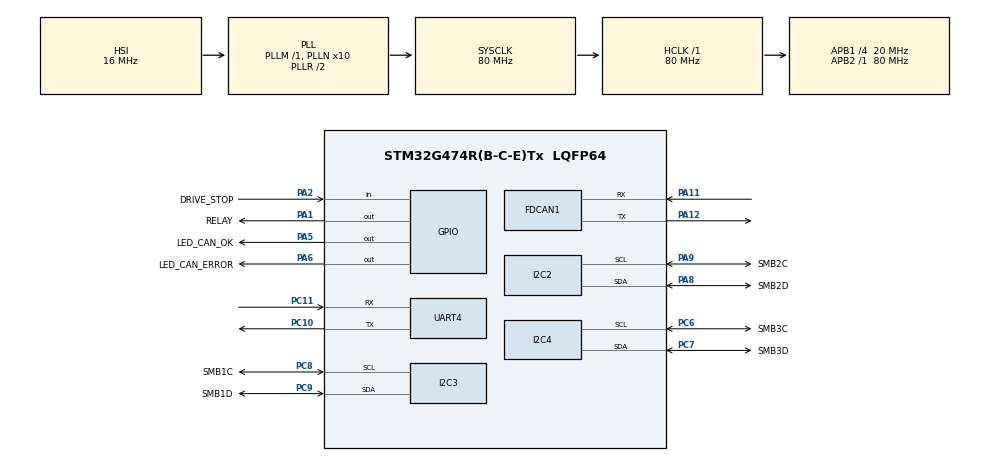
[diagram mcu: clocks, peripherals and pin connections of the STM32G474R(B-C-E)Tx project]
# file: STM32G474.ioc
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FDCAN1.AutoRetransmission=ENABLE
FDCAN1.CalculateBaudRateNominal=500000
FDCAN1.CalculateTimeBitNominal=2000
FDCAN1.CalculateTimeQuantumNominal=200.0
FDCAN1.DataTimeSeg1=5
FDCAN1.DataTimeSeg2=4
FDCAN1.NominalPrescaler=4
FDCAN1.NominalSyncJumpWidth=12
FDCAN1.NominalTimeSeg1=8
FDCAN1.NominalTimeSeg2=1
FDCAN1.TransmitPause=ENABLE
I2C2.Timing=0x00604E6E
I2C3.Timing=0x00604E6E
I2C4.Timing=0x00604E6E
Mcu.Family=STM32G4
Mcu.Name=STM32G474R(B-C-E)Tx
Mcu.Package=LQFP64
NVIC.FDCAN1_IT0_IRQn=true\:0\:0\:false\:false\:true\:true\:true\:true
NVIC.PriorityGroup=NVIC_PRIORITYGROUP_4
NVIC.TIM6_DAC_IRQn=true\:15\:0\:false\:false\:true\:false\:true\:true
NVIC.TimeBase=TIM6_DAC_IRQn
NVIC.TimeBaseIP=TIM6
PA1.GPIO_Label=RELAY
PA1.Signal=GPIO_Output
PA11.Mode=FDCAN_Activate
PA11.Signal=FDCAN1_RX
PA12.Mode=FDCAN_Activate
PA12.Signal=FDCAN1_TX
PA13.Mode=JTAG_5_pins
PA13.Signal=SYS_JTMS-SWDIO
PA14.Mode=JTAG_5_pins
PA14.Signal=SYS_JTCK-SWCLK
PA15.Mode=JTAG_5_pins
PA15.Signal=SYS_JTDI
PA2.GPIO_Label=DRIVE_STOP
PA2.GPIO_PuPd=GPIO_PULLUP
PA2.Signal=GPIO_Input
PA5.GPIO_Label=LED_CAN_OK
PA5.Signal=GPIO_Output
PA6.GPIO_Label=LED_CAN_ERROR
PA6.Signal=GPIO_Output
PA8.GPIO_Label=SMB2D
PA8.Mode=I2C
PA8.Signal=I2C2_SDA
PA9.GPIO_Label=SMB2C
PA9.Mode=I2C
PA9.Signal=I2C2_SCL
PB3.Mode=JTAG_5_pins
PB3.Signal=SYS_JTDO-SWO
PB4.Mode=JTAG_5_pins
PB4.Signal=SYS_JTRST
PC10.Mode=Asynchronous
PC10.Signal=UART4_TX
PC11.Mode=Asynchronous
PC11.Signal=UART4_RX
PC6.GPIO_Label=SMB3C
PC6.Mode=I2C
PC6.Signal=I2C4_SCL
PC7.GPIO_Label=SMB3D
PC7.Mode=I2C
PC7.Signal=I2C4_SDA
PC8.GPIO_Label=SMB1C
PC8.Mode=I2C
PC8.Signal=I2C3_SCL
PC9.GPIO_Label=SMB1D
PC9.Mode=I2C
PC9.Signal=I2C3_SDA
PF0-OSC_IN.Mode=HSE-External-Oscillator
PF0-OSC_IN.Signal=RCC_OSC_IN
PF1-OSC_OUT.Mode=HSE-External-Oscillator
PF1-OSC_OUT.Signal=RCC_OSC_OUT
ProjectManager.HeapSize=0x200
ProjectManager.StackSize=0x400
ProjectManager.TargetToolchain=STM32CubeIDE
RCC.ADC12Freq_Value=80000000
RCC.ADC345Freq_Value=80000000
RCC.AHBFreq_Value=80000000
RCC.APB1CLKDivider=RCC_HCLK_DIV4
RCC.APB1Freq_Value=20000000
RCC.APB1TimFreq_Value=40000000
RCC.APB2Freq_Value=80000000
RCC.APB2TimFreq_Value=80000000
RCC.CortexFreq_Value=80000000
RCC.EXTERNAL_CLOCK_VALUE=12288000
RCC.HCLKFreq_Value=80000000
RCC.HSE_VALUE=24000000
RCC.HSI48_VALUE=48000000
RCC.HSI_VALUE=16000000
RCC.LSE_VALUE=32768
RCC.PLLN=10
RCC.SYSCLKFreq_VALUE=80000000
RCC.SYSCLKSource=RCC_SYSCLKSOURCE_PLLCLK
RCC.USBFreq_Value=80000000
RCC.VCOOutputFreq_Value=160000000
VP_SYS_VS_DBSignals.Mode=DisableDeadBatterySignals
VP_SYS_VS_tim6.Mode=TIM6
board=custom

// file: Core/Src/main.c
/* USER CODE BEGIN Header */
/**
 ******************************************************************************
 * @file           : main.c
 * @brief          : Main program body
 ******************************************************************************
 * @attention
 *
 * Copyright (c) 2025 STMicroelectronics.
 * All rights reserved.
 *
 * This software is licensed under terms that can be found in the LICENSE file
 * in the root directory of this software component.
 * If no LICENSE file comes with this software, it is provided AS-IS.
 *
 ******************************************************************************
 */
/* USER CODE END Header */
#include "main.h"
#include "fdcan.h"
#include "i2c.h"
#include "usart.h"
#include "gpio.h"

/* USER CODE BEGIN Includes */
#include "FreeRTOS.h"
#include "task.h"
#include "freertos_tasks.h"
#include "vescan_task.h"
#include "battery_monitor_task.h"
#include "hal_types.h"  // For unified DEBUG_LOG macro
#include <stdio.h>
#include <string.h>
#include "vesc2halcan.h"

// Unit test integration - declare as weak symbols so they can be overridden
extern "C" __attribute__((weak)) void startUnitTests(void) {
	// Weak implementation - does nothing if tests not linked
	DEBUG_LOG("Unit tests not linked - skipping");
}

extern "C" __attribute__((weak)) void runTestsTask(void* pvParameters) {
	(void)pvParameters;
	// Weak implementation - just delete task if tests not linked
	DEBUG_LOG("Test task not implemented - deleting task");
	vTaskDelete(NULL);// Use NULL instead of nullptr for C compatibility
}
/* USER CODE END Includes */

/* USER CODE BEGIN PD */
// NOTE: Logging method selection and macro definitions are above, before function definitions
/* USER CODE END PD */

void SystemClock_Config(void);

/* USER CODE BEGIN 0 */
TaskHandle_t batteryTaskHandle[3] = { NULL };
TaskHandle_t vescanTaskHandle = NULL;

/**
 * @brief  Configures the FDCAN.
 * @param  None
 * @retval None
 */
static void FDCAN_Config(void) {

	FDCAN_FilterTypeDef sFilterConfig;

	/* Configure Rx filter */
	sFilterConfig.IdType = FDCAN_EXTENDED_ID;
	sFilterConfig.FilterIndex = 0;
	sFilterConfig.FilterType = FDCAN_FILTER_DISABLE; // FDCAN_FILTER_MASK
	sFilterConfig.FilterConfig = FDCAN_FILTER_TO_RXFIFO0;

//	sFilterConfig.FilterID1 =
//	sFilterConfig.FilterID2 = 0x1FFF00FF;

	if (HAL_FDCAN_ConfigFilter(&hfdcan1, &sFilterConfig) != HAL_OK) {
		Error_Handler();
	}

	/* Configure global filter:
	 Filter all remote frames with STD and EXT ID
	 Reject non matching frames with STD ID and EXT ID */
//	if (HAL_FDCAN_ConfigGlobalFilter(&hfdcan1, FDCAN_REJECT, FDCAN_REJECT, FDCAN_FILTER_REMOTE, FDCAN_FILTER_REMOTE) != HAL_OK) {
//		Error_Handler();
//	}

	/* Start the FDCAN module */
	if (HAL_FDCAN_Start(&hfdcan1) != HAL_OK) {
		Error_Handler();
	}

	if (HAL_FDCAN_ActivateNotification(&hfdcan1, FDCAN_IT_RX_FIFO0_NEW_MESSAGE, 0) != HAL_OK) {
		Error_Handler();
	}

}

/**
 * @brief  Rx FIFO 0 callback.
 * @param  hfdcan: pointer to an FDCAN_HandleTypeDef structure that contains
 *         the configuration information for the specified FDCAN.
 * @param  RxFifo0ITs: indicates which Rx FIFO 0 interrupts are signalled.
 *         This parameter can be any combination of @arg FDCAN_Rx_Fifo0_Interrupts.
 * @retval None
 */
void HAL_FDCAN_RxFifo0Callback(FDCAN_HandleTypeDef *hfdcan, uint32_t RxFifo0ITs) {
	if ((RxFifo0ITs & FDCAN_IT_RX_FIFO0_NEW_MESSAGE) != 0) {
		FDCAN_RxHeaderTypeDef RxHeader;
		uint8_t RxData[8];

		/* Retrieve Rx messages from RX FIFO0 */
		if (HAL_FDCAN_GetRxMessage(hfdcan, FDCAN_RX_FIFO0, &RxHeader, RxData)
				!= HAL_OK) {
			return;
		}

		if (RxHeader.Identifier == BATTERY0_ID
				|| RxHeader.Identifier == BATTERY1_ID
				|| RxHeader.Identifier == BATTERY2_ID) {

			VESC_RawFrame rawFrame;
			halcan2vesc(&rawFrame, &RxHeader, RxData);

			if (rawFrame.command == VESC_COMMAND_SET_DUTY) {
				VESC_CommandFrame commandFrame;
				VESC_ZeroMemory(&commandFrame, sizeof(commandFrame));
				VESC_convertRawToCmd(&commandFrame, &rawFrame);

//				printf("Received VESC SET DUTY: %.2f \n\r",
//						commandFrame.commandData);
				if(commandFrame.commandData < 1.0f){
					HAL_GPIO_WritePin(RELAY_GPIO_Port, RELAY_Pin, GPIO_PIN_RESET);
				}else{
					HAL_GPIO_WritePin(RELAY_GPIO_Port, RELAY_Pin, GPIO_PIN_SET);
				}

			}
		}

	}
}

/* USER CODE END 0 */

int main(void)
{

  /* MCU Configuration--------------------------------------------------------*/

  /* Reset of all peripherals, Initializes the Flash interface and the Systick. */
  HAL_Init();

  /* Configure the system clock */
  SystemClock_Config();

  /* Initialize all configured peripherals */
  MX_GPIO_Init();
  MX_FDCAN1_Init();
  MX_I2C2_Init();
  MX_I2C3_Init();
  MX_I2C4_Init();
  MX_UART4_Init();
  /* USER CODE BEGIN 2 */

	HAL_GPIO_WritePin(LED_CAN_ERROR_GPIO_Port, LED_CAN_ERROR_Pin, GPIO_PIN_RESET);
	HAL_GPIO_WritePin(LED_CAN_OK_GPIO_Port, LED_CAN_OK_Pin, GPIO_PIN_RESET);
	HAL_Delay(1000);

	HAL_GPIO_WritePin(LED_CAN_ERROR_GPIO_Port, LED_CAN_ERROR_Pin, GPIO_PIN_SET);
	HAL_GPIO_WritePin(LED_CAN_OK_GPIO_Port, LED_CAN_OK_Pin, GPIO_PIN_SET);
	HAL_Delay(1000);

	// Test UART4 hardware directly first
	const char *test_msg = "UART4 HAL Test OK\n\r";
	HAL_UART_Transmit(&huart4, (uint8_t*) test_msg, strlen(test_msg), 1000);

	// Test UART4 console via printf/syscalls
	printf("=== UART4 Console Test ===\n\r");
	printf("Direct printf test successful!\n\r");

	// Display startup banner via UART console
	printf("mmmmm mmmmm mmmmm mmmmm mmmmm mmmmm \n\r");
	printf("MM                               MM \n\r");
	printf("MM     `7MM\"\"\"YMM   .M\"\"\"bgd     MM\tExisting solutions v 01.08.25\n\r");
	printf("MM       MM    `7  ,MI    \"Y     MM \n\r");
	printf("MM       MM   d    `MMb.         MM \n\r");
	printf("MM       MMmmMM      `YMMNq.     MM \n\r");
	printf("MM       MM   Y  , .     `MM     MM \n\r");
	printf("MM       MM     ,M Mb     dM     MM \n\r");
	printf("MM     .JMMmmmmMMM P\"Ybmmd\"      MM \n\r");
	printf("MM                               MM \n\r");
	printf("mmmmm mmmmm mmmmm mmmmm mmmmm mmmmm \n\r");

	DEBUG_LOG("\n=== STM32G474 Custom Board Startup ===");
	DEBUG_LOG("Platform: Custom-G474");
	DEBUG_LOG("MCU: STM32G474RE Cortex-M4F");
	DEBUG_LOG("FreeRTOS: Enabled");

	DEBUG_LOG("\n--- Creating Application Tasks ---");

    // FDCAN is already initialized by MX_FDCAN1_Init() in main

	FDCAN_Config(); // TODO PROBABLY SHOULD BE CALLED AFTER INITIALIZING TASKS

	/* Initialize VESCAN queues (temporarily disabled for debugging) */
//	 vescanInitQueues();
//	DEBUG_LOG("VESCAN queues initialization skipped (debugging)");

	/* Configure battery monitor task for STM32G474 platform */
//@formatter:off
	static BatteryTaskConfig battery_config[3] = {
		{
					&hi2c3,                    // Use I2C3 peripheral on this platform
					BATTERY_DEFAULT_ADDRESS,   // Standard BQ40Z80 address (0x0B)
					3000,                      // Read battery every 3 seconds
					"BatteryG474 0",              // Platform-specific task name
					BATTERY0_ID						// CAN ID
		},
		{
					&hi2c2,                    // Use I2C3 peripheral on this platform
					BATTERY_DEFAULT_ADDRESS,   // Standard BQ40Z80 address (0x0B)
					3000,                      // Read battery every 3 seconds
					"BatteryG474 1",              // Platform-specific task name
					BATTERY1_ID 						// CAN ID
		},
		{
					&hi2c4,                    // Use I2C3 peripheral on this platform
					BATTERY_DEFAULT_ADDRESS,   // Standard BQ40Z80 address (0x0B)
					3000,                      // Read battery every 3 seconds
					"BatteryG474 2",              // Platform-specific task name
					BATTERY2_ID 						// CAN ID
		},
	};

//@formatter:on

	BaseType_t xReturned;
	/* Create VESCAN task  */
//	xReturned = xTaskCreate(vescanTask,                   // Task function
//			"VESCAN",                     // Task name
//			512,                          // Stack size
//			NULL,                         // Parameters
//			tskIDLE_PRIORITY + 2,         // Priority
//			&vescanTaskHandle             // Task handle
//			);
//
//	if (xReturned != pdPASS) {
//		DEBUG_LOG("ERROR: Failed to create VESCAN task");
//		Error_Handler();
//	}
//	DEBUG_LOG("VESCAN task created successfully (FDCAN1)");

	/* Create battery monitor task for BQ40Z80 management */

	xReturned = xTaskCreate(batteryMonitorTask,           // Task function - battery monitoring with reports
			"Battery0",                    // Task name
			BATTERY_MONITOR_TASK_STACK_SIZE, // Stack size from configuration
			&battery_config[0],              // Pass configuration as parameters
			BATTERY_MONITOR_TASK_PRIORITY,              // Task priority from configuration
			&batteryTaskHandle[0]            // Task handle
			);

	if (xReturned != pdPASS) {
		DEBUG_LOG("ERROR: Failed to create battery monitor task");
		Error_Handler();
	}
	DEBUG_LOG("Battery monitor task created successfully (I2C3, 3sec reports)");

	xReturned = xTaskCreate(batteryMonitorTask,           // Task function - battery monitoring with reports
			"Battery1",                    // Task name
			BATTERY_MONITOR_TASK_STACK_SIZE, // Stack size from configuration
			&battery_config[1],              // Pass configuration as parameters
			BATTERY_MONITOR_TASK_PRIORITY,              // Task priority from configuration
			&batteryTaskHandle[1]            // Task handle
			);

	if (xReturned != pdPASS) {
		DEBUG_LOG("ERROR: Failed to create battery monitor task");
		Error_Handler();
	}
	DEBUG_LOG("Battery monitor task created successfully (I2C3, 3sec reports)");

	xReturned = xTaskCreate(batteryMonitorTask,           // Task function - battery monitoring with reports
			"Battery2",                    // Task name
			BATTERY_MONITOR_TASK_STACK_SIZE, // Stack size from configuration
			&battery_config[2],              // Pass configuration as parameters
			BATTERY_MONITOR_TASK_PRIORITY,              // Task priority from configuration
			&batteryTaskHandle[2]            // Task handle
			);

	if (xReturned != pdPASS) {
		DEBUG_LOG("ERROR: Failed to create battery monitor task");
		Error_Handler();
	}
	DEBUG_LOG("Battery monitor task created successfully (I2C3, 3sec reports)");

	/* UART task is currently disabled */
	//TaskHandle_t uartTaskHandle = NULL;
	//xReturned = xTaskCreate(uartTask, "UART", 1024, NULL, tskIDLE_PRIORITY + 1, &uartTaskHandle);
	DEBUG_LOG("\n--- Starting FreeRTOS Scheduler ---");
	DEBUG_LOG("Application ready\n");

	/* Start FreeRTOS scheduler */
	vTaskStartScheduler();
  /* USER CODE END 2 */

  /* Infinite loop */
	while (1) {

	}
}

void SystemClock_Config(void)
{
  RCC_OscInitTypeDef RCC_OscInitStruct = {0};
  RCC_ClkInitTypeDef RCC_ClkInitStruct = {0};

  /** Configure the main internal regulator output voltage
  */
  HAL_PWREx_ControlVoltageScaling(PWR_REGULATOR_VOLTAGE_SCALE1);

  /** Initializes the RCC Oscillators according to the specified parameters
  * in the RCC_OscInitTypeDef structure.
  */
  RCC_OscInitStruct.OscillatorType = RCC_OSCILLATORTYPE_HSI;
  RCC_OscInitStruct.HSIState = RCC_HSI_ON;
  RCC_OscInitStruct.HSICalibrationValue = RCC_HSICALIBRATION_DEFAULT;
  RCC_OscInitStruct.PLL.PLLState = RCC_PLL_ON;
  RCC_OscInitStruct.PLL.PLLSource = RCC_PLLSOURCE_HSI;
  RCC_OscInitStruct.PLL.PLLM = RCC_PLLM_DIV1;
  RCC_OscInitStruct.PLL.PLLN = 10;
  RCC_OscInitStruct.PLL.PLLP = RCC_PLLP_DIV2;
  RCC_OscInitStruct.PLL.PLLQ = RCC_PLLQ_DIV2;
  RCC_OscInitStruct.PLL.PLLR = RCC_PLLR_DIV2;
  if (HAL_RCC_OscConfig(&RCC_OscInitStruct) != HAL_OK)
  {
    Error_Handler();
  }

  /** Initializes the CPU, AHB and APB buses clocks
  */
  RCC_ClkInitStruct.ClockType = RCC_CLOCKTYPE_HCLK|RCC_CLOCKTYPE_SYSCLK
                              |RCC_CLOCKTYPE_PCLK1|RCC_CLOCKTYPE_PCLK2;
  RCC_ClkInitStruct.SYSCLKSource = RCC_SYSCLKSOURCE_PLLCLK;
  RCC_ClkInitStruct.AHBCLKDivider = RCC_SYSCLK_DIV1;
  RCC_ClkInitStruct.APB1CLKDivider = RCC_HCLK_DIV4;
  RCC_ClkInitStruct.APB2CLKDivider = RCC_HCLK_DIV1;

  if (HAL_RCC_ClockConfig(&RCC_ClkInitStruct, FLASH_LATENCY_2) != HAL_OK)
  {
    Error_Handler();
  }
}

/* USER CODE BEGIN 4 */

// FDCAN handle for G474 platform (G474 uses FDCAN, not classic CAN)
extern FDCAN_HandleTypeDef hfdcan1;

// HAL_Delay_MS implementation for app library
extern "C" void HAL_Delay_MS(uint32_t ms)
{
    vTaskDelay(pdMS_TO_TICKS(ms));
}

// FreeRTOS static allocation hook functions
static StaticTask_t xIdleTaskTCB;
static StackType_t uxIdleTaskStack[configMINIMAL_STACK_SIZE];

void vApplicationGetIdleTaskMemory(StaticTask_t **ppxIdleTaskTCBBuffer, StackType_t **ppxIdleTaskStackBuffer, uint32_t *pulIdleTaskStackSize) {
*ppxIdleTaskTCBBuffer = &xIdleTaskTCB;
*ppxIdleTaskStackBuffer = uxIdleTaskStack;
*pulIdleTaskStackSize = configMINIMAL_STACK_SIZE;
}

#if (configUSE_TIMERS == 1)
static StaticTask_t xTimerTaskTCB;
static StackType_t uxTimerTaskStack[configTIMER_TASK_STACK_DEPTH];

void vApplicationGetTimerTaskMemory(StaticTask_t **ppxTimerTaskTCBBuffer, StackType_t **ppxTimerTaskStackBuffer, uint32_t *pulTimerTaskStackSize) {
*ppxTimerTaskTCBBuffer = &xTimerTaskTCB;
*ppxTimerTaskStackBuffer = uxTimerTaskStack;
*pulTimerTaskStackSize = configTIMER_TASK_STACK_DEPTH;
}
#endif

/* USER CODE END 4 */

void HAL_TIM_PeriodElapsedCallback(TIM_HandleTypeDef *htim)
{
  if (htim->Instance == TIM6)
  {
    HAL_IncTick();
  }
}

void Error_Handler(void)
{
__disable_irq();
while (1) {
}
}

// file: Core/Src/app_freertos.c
/* USER CODE BEGIN Header */
/**
  ******************************************************************************
  * File Name          : app_freertos.c
  * Description        : Code for freertos applications
  ******************************************************************************
  * @attention
  *
  * Copyright (c) 2025 STMicroelectronics.
  * All rights reserved.
  *
  * This software is licensed under terms that can be found in the LICENSE file
  * in the root directory of this software component.
  * If no LICENSE file comes with this software, it is provided AS-IS.
  *
  ******************************************************************************
  */
/* USER CODE END Header */

#include "FreeRTOS.h"
#include "task.h"
#include "main.h"
#include "cmsis_os.h"

/* Definitions for defaultTask */
osThreadId_t defaultTaskHandle;
const osThreadAttr_t defaultTask_attributes = {
  .name = "defaultTask",
  .priority = (osPriority_t) osPriorityNormal,
  .stack_size = 128 * 4
};
/* Definitions for BlinkErrorCode */
osThreadId_t BlinkErrorCodeHandle;
const osThreadAttr_t BlinkErrorCode_attributes = {
  .name = "BlinkErrorCode",
  .priority = (osPriority_t) osPriorityLow,
  .stack_size = 128 * 4
};

void StartDefaultTask(void *argument);
void StartBlinkErrorCode(void *argument);

void MX_FREERTOS_Init(void); /* (MISRA C 2004 rule 8.1) */

void MX_FREERTOS_Init(void) {

  /* Create the thread(s) */
  /* creation of defaultTask */
  defaultTaskHandle = osThreadNew(StartDefaultTask, NULL, &defaultTask_attributes);

  /* creation of BlinkErrorCode */
  BlinkErrorCodeHandle = osThreadNew(StartBlinkErrorCode, NULL, &BlinkErrorCode_attributes);

}

void StartDefaultTask(void *argument)
{
  for(;;)
  {
    osDelay(1);
  }
}

void StartBlinkErrorCode(void *argument)
{
  for(;;)
  {
    osDelay(1);
  }
}
